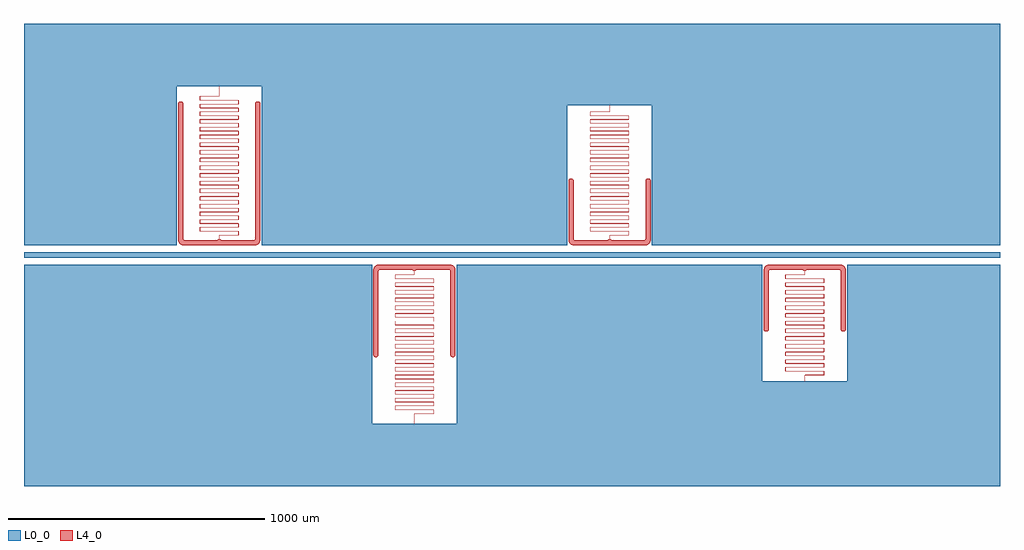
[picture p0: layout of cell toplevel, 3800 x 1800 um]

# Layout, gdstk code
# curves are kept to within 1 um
import gdstk
lib = gdstk.Library(unit=1e-6, precision=1e-09)
def R(c, l, rs):  # rectangles x0, y0, x1, y1
    for r in rs: c.add(gdstk.rectangle(r[:2], r[2:], *l))
def P(c, l, *ps):  # polygons
    for p in ps: c.add(gdstk.Polygon(p, *l))
L0_0 = (0, 0)
L4_0 = (4, 0)

toplevel = lib.new_cell('toplevel')
R(toplevel, L0_0, [(-1900,-10,1900,10)])
P(toplevel, L0_0, [(215,582.5),(545,582.5),(545,37.5),(1900,37.5),(1900,900),(-1900,900),(-1900,37.5),(-1305,37.5),(-1305,657.5),(-975,657.5),(-975,37.5),(215,37.5)],
  [(975,-492.5),(975,-37.5),(-215,-37.5),(-215,-657.5),(-545,-657.5),(-545,-37.5),(-1900,-37.5),(-1900,-900),(1900,-900),(1900,-37.5),(1305,-37.5),(1305,-492.5)])
P(toplevel, L4_0, [(-1008.256,37.5),(-997.418,38.546),(-989.063,42.458),(-983.214,49.297),(-980.348,58.625),(-980,258.168),(-1000,258.168),(-1000.038,63.083),(-1001.082,58.445),(-1007.931,57.5),(-1130,57.5),(-1139.7,62.5),(-1139.291,77.175),(-1065.361,77.305),(-1064.704,78.388),(-1064.702,91.589),(-1065.693,92.78),(-1214.666,93.171),(-1214.214,107.187),(-1066.111,107.2),(-1064.7,108.606),(-1064.709,121.702),(-1065.724,122.784),(-1214.544,122.941),(-1214.163,137.192),(-1066.111,137.2),(-1064.7,138.601),(-1064.706,151.654),(-1065.755,152.787),(-1214.468,152.887),(-1214.184,167.19),(-1066.111,167.2),(-1064.7,168.601),(-1064.704,181.624),(-1065.73,182.785),(-1214.306,182.829),(-1214.405,197.142),(-1065.73,197.215),(-1064.706,198.34),(-1064.7,211.404),(-1066.111,212.8),(-1214.202,212.812),(-1214.507,227.089),(-1065.755,227.213),(-1064.706,228.334),(-1064.7,241.404),(-1066.111,242.8),(-1214.197,242.811),(-1214.572,257.03),(-1066.036,257.2),(-1064.724,258.168),(-1213.888,257.8),(-1215.3,256.404),(-1215.293,243.328),(-1214.245,242.213),(-1065.428,242.03),(-1065.803,227.811),(-1213.888,227.8),(-1215.3,226.404),(-1215.294,213.34),(-1214.251,212.213),(-1065.458,212.061),(-1065.798,197.812),(-1214.003,197.799),(-1215.3,196.378),(-1215.292,183.31),(-1214.238,182.212),(-1065.511,182.101),(-1065.82,167.809),(-1213.942,167.8),(-1215.3,166.503),(-1215.295,153.352),(-1214.245,152.213),(-1065.69,152.171),(-1065.579,137.864),(-1214.22,137.79),(-1215.293,136.678),(-1215.3,123.606),(-1213.888,122.2),(-1065.761,122.184),(-1065.491,107.912),(-1214.238,107.788),(-1215.294,106.653),(-1215.3,93.612),(-1213.888,92.2),(-1065.811,92.19),(-1065.45,77.946),(-1139.481,77.746),(-1140.296,76.612),(-1140.3,62.5),(-1150,57.5),(-1272.878,57.504),(-1278.872,58.413),(-1279.998,64.94),(-1280,258.168),(-1300,258.168),(-1299.942,62.192),(-1299.229,56.102),(-1297.537,50.823),(-1294.735,46.164),(-1291.07,42.559),(-1283.52,38.804),(-1273.646,37.512)],
  [(-1064.717,258.218),(-1064.707,271.678),(-1064.797,272.119),(-1065.007,272.459),(-1065.328,272.681),(-1065.755,272.787),(-1213.935,272.8),(-1214.474,272.89),(-1214.677,273.221),(-1214.698,286.567),(-1214.572,287.03),(-1214.184,287.19),(-1066.036,287.2),(-1065.532,287.25),(-1065.155,287.415),(-1064.887,287.699),(-1064.736,288.097),(-1064.707,301.678),(-1064.797,302.119),(-1065.007,302.459),(-1065.328,302.681),(-1065.755,302.787),(-1213.935,302.8),(-1214.471,302.888),(-1214.675,303.209),(-1214.698,316.567),(-1214.572,317.03),(-1214.184,317.19),(-1066.036,317.2),(-1065.539,317.249),(-1065.161,317.411),(-1064.894,317.686),(-1064.74,318.078),(-1064.707,331.678),(-1064.797,332.119),(-1065.007,332.459),(-1065.328,332.681),(-1065.755,332.787),(-1213.935,332.8),(-1214.465,332.885),(-1214.671,333.194),(-1214.698,346.567),(-1214.572,347.03),(-1214.18,347.191),(-1066.041,347.2),(-1065.545,347.247),(-1065.173,347.403),(-1064.903,347.673),(-1064.745,348.052),(-1064.707,361.677),(-1064.797,362.119),(-1065.007,362.459),(-1065.328,362.681),(-1065.755,362.787),(-1213.93,362.8),(-1214.457,362.881),(-1214.668,363.179),(-1214.698,376.567),(-1214.572,377.03),(-1214.18,377.191),(-1066.041,377.2),(-1065.558,377.244),(-1065.186,377.394),(-1064.915,377.655),(-1064.754,378.019),(-1064.707,391.677),(-1064.797,392.119),(-1065.007,392.459),(-1065.328,392.681),(-1065.755,392.787),(-1213.93,392.8),(-1214.451,392.878),(-1214.663,393.16),(-1214.698,406.563),(-1214.572,407.03),(-1214.18,407.191),(-1066.041,407.2),(-1065.565,407.243),(-1065.199,407.387),(-1064.928,407.636),(-1064.762,407.987),(-1064.707,421.671),(-1064.795,422.112),(-1065.002,422.453),(-1065.328,422.681),(-1065.755,422.787),(-1213.93,422.8),(-1214.439,422.872),(-1214.657,423.139),(-1214.698,436.563),(-1214.572,437.03),(-1214.18,437.191),(-1066.047,437.2),(-1065.218,437.375),(-1064.947,437.612),(-1064.774,437.947),(-1064.7,438.547),(-1064.707,451.671),(-1064.795,452.112),(-1065.002,452.453),(-1065.328,452.681),(-1065.755,452.787),(-1213.925,452.8),(-1214.427,452.867),(-1214.649,453.115),(-1214.698,466.563),(-1214.572,467.03),(-1214.18,467.191),(-1066.047,467.2),(-1065.237,467.364),(-1064.971,467.582),(-1064.792,467.894),(-1064.7,468.536),(-1064.706,481.665),(-1064.795,482.112),(-1065.002,482.453),(-1065.328,482.681),(-1065.755,482.787),(-1213.925,482.8),(-1214.414,482.861),(-1214.64,483.089),(-1214.698,496.558),(-1214.574,497.027),(-1214.18,497.191),(-1066.052,497.2),(-1065.27,497.347),(-1064.816,497.835),(-1064.7,498.525),(-1064.706,511.665),(-1064.795,512.112),(-1065.002,512.453),(-1065.328,512.681),(-1065.755,512.787),(-1213.925,512.8),(-1214.398,512.855),(-1214.626,513.058),(-1214.7,513.545),(-1214.698,526.558),(-1214.574,527.028),(-1214.18,527.191),(-1066.052,527.2),(-1065.302,527.331),(-1064.85,527.763),(-1064.7,528.508),(-1064.706,541.659),(-1064.795,542.112),(-1065.002,542.453),(-1065.328,542.681),(-1065.755,542.787),(-1213.92,542.8),(-1214.375,542.847),(-1214.609,543.024),(-1214.7,543.54),(-1214.698,556.553),(-1214.574,557.028),(-1214.18,557.191),(-1066.063,557.2),(-1065.355,557.308),(-1064.903,557.673),(-1064.75,558.032),(-1064.701,558.491),(-1064.705,571.648),(-1064.79,572.099),(-1064.997,572.448),(-1065.322,572.678),(-1065.755,572.787),(-1213.914,572.8),(-1214.347,572.839),(-1214.582,572.984),(-1214.7,573.525),(-1214.698,586.548),(-1214.575,587.025),(-1214.18,587.191),(-1066.069,587.2),(-1065.427,587.281),(-1064.986,587.564),(-1064.774,587.947),(-1064.701,588.463),(-1064.704,601.63),(-1064.787,602.092),(-1064.992,602.442),(-1065.315,602.675),(-1065.749,602.787),(-1213.909,602.8),(-1214.544,602.941),(-1214.7,603.51),(-1214.699,616.515),(-1214.601,616.989),(-1214.287,617.175),(-1141.058,617.2),(-1140.526,617.252),(-1140.136,617.428),(-1139.805,617.861),(-1139.7,618.508),(-1139.7,657.5),(-1140.3,657.5),(-1140.3,618.55),(-1140.342,618.143),(-1140.486,617.916),(-1141.075,617.8),(-1214.416,617.761),(-1214.788,617.621),(-1215.062,617.376),(-1215.232,617.033),(-1215.297,616.589),(-1215.298,603.446),(-1215.208,602.894),(-1214.953,602.502),(-1214.527,602.266),(-1213.926,602.2),(-1065.82,602.191),(-1065.425,602.025),(-1065.301,601.544),(-1065.3,588.52),(-1065.435,587.962),(-1065.671,587.834),(-1066.086,587.8),(-1214.251,587.787),(-1214.678,587.678),(-1215.003,587.448),(-1215.21,587.099),(-1215.295,586.642),(-1215.299,573.48),(-1215.24,572.993),(-1215.062,572.624),(-1214.612,572.295),(-1213.937,572.2),(-1065.82,572.191),(-1065.426,572.028),(-1065.302,571.553),(-1065.3,558.53),(-1065.404,558.003),(-1065.639,557.843),(-1066.08,557.8),(-1214.245,557.787),(-1214.671,557.681),(-1214.998,557.453),(-1215.208,557.106),(-1215.294,556.654),(-1215.3,543.503),(-1215.129,542.724),(-1214.671,542.319),(-1213.942,542.2),(-1065.82,542.191),(-1065.426,542.028),(-1065.302,541.558),(-1065.3,528.54),(-1065.382,528.04),(-1065.615,527.85),(-1066.08,527.8),(-1214.245,527.787),(-1214.671,527.681),(-1214.998,527.453),(-1215.205,527.112),(-1215.294,526.659),(-1215.3,513.519),(-1215.169,512.802),(-1214.717,512.34),(-1213.948,512.2),(-1065.82,512.191),(-1065.426,512.028),(-1065.302,511.558),(-1065.3,498.55),(-1065.367,498.073),(-1065.595,497.858),(-1066.075,497.8),(-1214.245,497.787),(-1214.671,497.681),(-1214.998,497.453),(-1215.205,497.112),(-1215.294,496.665),(-1215.3,483.53),(-1215.198,482.868),(-1215.019,482.57),(-1214.75,482.357),(-1213.953,482.2),(-1065.82,482.191),(-1065.428,482.03),(-1065.302,481.563),(-1065.355,468.102),(-1065.579,467.864),(-1066.075,467.8),(-1214.245,467.787),(-1214.671,467.681),(-1214.998,467.453),(-1215.205,467.112),(-1215.293,466.671),(-1215.3,453.541),(-1215.217,452.921),(-1215.039,452.593),(-1214.769,452.368),(-1213.953,452.2),(-1065.82,452.191),(-1065.428,452.03),(-1065.302,451.563),(-1065.346,438.129),(-1065.564,437.871),(-1066.07,437.8),(-1214.245,437.787),(-1214.671,437.681),(-1214.998,437.453),(-1215.205,437.112),(-1215.293,436.671),(-1215.3,423.547),(-1215.232,422.967),(-1215.062,422.624),(-1214.795,422.383),(-1213.959,422.2),(-1065.82,422.191),(-1065.428,422.03),(-1065.302,421.563),(-1065.34,408.15),(-1065.555,407.875),(-1066.07,407.8),(-1214.245,407.787),(-1214.671,407.681),(-1214.998,407.453),(-1215.205,407.112),(-1215.293,406.671),(-1215.243,393.006),(-1215.08,392.648),(-1214.808,392.39),(-1214.441,392.244),(-1213.959,392.2),(-1065.82,392.191),(-1065.428,392.03),(-1065.302,391.567),(-1065.335,378.168),(-1065.546,377.879),(-1066.07,377.8),(-1214.245,377.787),(-1214.671,377.681),(-1214.992,377.459),(-1215.203,377.119),(-1215.293,376.677),(-1215.251,363.039),(-1215.093,362.667),(-1214.82,362.398),(-1214.448,362.245),(-1213.959,362.2),(-1065.82,362.191),(-1065.428,362.03),(-1065.302,361.567),(-1065.33,348.186),(-1065.54,347.882),(-1066.07,347.8),(-1214.245,347.787),(-1214.671,347.681),(-1214.992,347.459),(-1215.203,347.119),(-1215.293,346.677),(-1215.257,333.065),(-1215.101,332.68),(-1214.833,332.407),(-1214.454,332.247),(-1213.959,332.2),(-1065.82,332.191),(-1065.428,332.03),(-1065.302,331.567),(-1065.327,318.202),(-1065.532,317.887),(-1066.065,317.8),(-1214.245,317.787),(-1214.671,317.681),(-1214.992,317.459),(-1215.203,317.119),(-1215.293,316.678),(-1215.263,303.091),(-1215.113,302.699),(-1214.845,302.415),(-1214.468,302.25),(-1213.964,302.2),(-1065.815,302.19),(-1065.428,302.03),(-1065.302,301.567),(-1065.325,288.213),(-1065.529,287.888),(-1066.065,287.8),(-1214.245,287.787),(-1214.671,287.681),(-1214.992,287.459),(-1215.203,287.119),(-1215.293,286.678),(-1215.267,273.11),(-1215.117,272.705),(-1214.852,272.42),(-1214.468,272.25),(-1213.964,272.2),(-1065.815,272.19),(-1065.428,272.03),(-1065.302,271.567),(-1065.335,258.168)],
  [(-1280,587.5),(-1282.929,594.571),(-1290,597.5),(-1296.756,594.873),(-1299.99,587.936),(-1300,258.168),(-1280,258.168)],
  [(-980,587.5),(-982.929,594.571),(-990,597.5),(-996.756,594.873),(-999.99,587.936),(-1000,258.168),(-980,258.168)],
  [(-529.564,-397.49),(-523.244,-394.873),(-520.038,-388.372),(-520,-258.112),(-540,-258.112),(-539.962,-388.372),(-536.756,-394.873)],
  [(-379.7,-618.55),(-379.561,-617.958),(-379.044,-617.801),(-305.532,-617.75),(-305.211,-617.621),(-304.937,-617.376),(-304.768,-617.033),(-304.702,-616.589),(-304.705,-603.364),(-304.898,-602.68),(-305.348,-602.31),(-306.074,-602.2),(-454.18,-602.191),(-454.575,-602.025),(-454.699,-601.544),(-454.7,-588.52),(-454.648,-588.112),(-454.494,-587.902),(-453.914,-587.8),(-305.749,-587.787),(-305.322,-587.678),(-304.997,-587.448),(-304.79,-587.099),(-304.705,-586.642),(-304.701,-573.48),(-304.792,-572.894),(-305.082,-572.471),(-305.532,-572.25),(-306.063,-572.2),(-454.18,-572.191),(-454.574,-572.028),(-454.698,-571.553),(-454.7,-558.53),(-454.554,-557.95),(-454.321,-557.832),(-453.92,-557.8),(-305.755,-557.787),(-305.328,-557.681),(-305.002,-557.453),(-304.792,-557.106),(-304.706,-556.654),(-304.7,-543.503),(-304.766,-542.973),(-304.961,-542.593),(-305.401,-542.29),(-306.058,-542.2),(-454.18,-542.191),(-454.574,-542.028),(-454.698,-541.558),(-454.7,-528.54),(-454.599,-528.008),(-454.385,-527.85),(-453.92,-527.8),(-305.755,-527.787),(-305.328,-527.681),(-305.002,-527.453),(-304.795,-527.112),(-304.706,-526.659),(-304.7,-513.519),(-304.871,-512.724),(-305.361,-512.305),(-306.052,-512.2),(-454.18,-512.191),(-454.574,-512.028),(-454.698,-511.558),(-454.7,-498.55),(-454.615,-498.035),(-454.361,-497.843),(-453.925,-497.8),(-305.755,-497.787),(-305.328,-497.681),(-305.002,-497.453),(-304.795,-497.112),(-304.706,-496.665),(-304.7,-483.53),(-304.837,-482.789),(-305.041,-482.507),(-305.328,-482.319),(-306.047,-482.2),(-454.18,-482.191),(-454.572,-482.03),(-454.698,-481.563),(-454.7,-468.555),(-454.626,-468.058),(-454.378,-467.848),(-453.925,-467.8),(-305.755,-467.787),(-305.328,-467.681),(-305.002,-467.453),(-304.795,-467.112),(-304.707,-466.671),(-304.7,-453.541),(-304.819,-452.828),(-305.018,-452.529),(-305.309,-452.328),(-306.047,-452.2),(-454.18,-452.191),(-454.572,-452.03),(-454.698,-451.563),(-454.7,-438.56),(-454.637,-438.082),(-454.392,-437.853),(-453.93,-437.8),(-305.755,-437.787),(-305.328,-437.681),(-305.002,-437.453),(-304.795,-437.112),(-304.707,-436.671),(-304.7,-423.547),(-304.8,-422.875),(-304.966,-422.587),(-305.244,-422.36),(-306.041,-422.2),(-454.18,-422.191),(-454.572,-422.03),(-454.698,-421.563),(-454.645,-408.102),(-454.398,-407.855),(-453.93,-407.8),(-305.755,-407.787),(-305.328,-407.681),(-305.002,-407.453),(-304.795,-407.112),(-304.707,-406.671),(-304.7,-393.558),(-304.772,-392.954),(-304.92,-392.648),(-305.192,-392.39),(-305.558,-392.244),(-306.041,-392.2),(-454.18,-392.191),(-454.572,-392.03),(-454.698,-391.567),(-454.665,-378.168),(-454.454,-377.879),(-453.93,-377.8),(-305.755,-377.787),(-305.328,-377.681),(-305.007,-377.459),(-304.797,-377.119),(-304.707,-376.677),(-304.7,-363.563),(-304.776,-362.94),(-304.937,-362.624),(-305.218,-362.375),(-306.041,-362.2),(-454.18,-362.191),(-454.572,-362.03),(-454.698,-361.567),(-454.67,-348.186),(-454.46,-347.882),(-453.93,-347.8),(-305.755,-347.787),(-305.328,-347.681),(-305.007,-347.459),(-304.797,-347.119),(-304.707,-346.677),(-304.755,-333.013),(-304.898,-332.68),(-305.167,-332.407),(-305.545,-332.247),(-306.041,-332.2),(-454.18,-332.191),(-454.572,-332.03),(-454.698,-331.567),(-454.673,-318.202),(-454.468,-317.887),(-453.935,-317.8),(-305.755,-317.787),(-305.328,-317.681),(-305.007,-317.459),(-304.797,-317.119),(-304.707,-316.678),(-304.75,-303.032),(-304.915,-302.655),(-305.192,-302.39),(-305.584,-302.238),(-306.036,-302.2),(-454.184,-302.19),(-454.572,-302.03),(-454.698,-301.567),(-454.675,-288.213),(-454.471,-287.888),(-453.935,-287.8),(-305.755,-287.787),(-305.328,-287.681),(-305.007,-287.459),(-304.797,-287.119),(-304.707,-286.678),(-304.745,-273.052),(-304.911,-272.661),(-305.192,-272.39),(-305.584,-272.238),(-306.036,-272.2),(-454.184,-272.19),(-454.572,-272.03),(-454.698,-271.567),(-454.648,-258.112),(-455.267,-258.112),(-455.293,-271.678),(-455.203,-272.119),(-454.992,-272.459),(-454.671,-272.681),(-454.245,-272.787),(-306.065,-272.8),(-305.526,-272.89),(-305.323,-273.221),(-305.302,-286.567),(-305.428,-287.03),(-305.815,-287.19),(-453.964,-287.2),(-454.468,-287.25),(-454.845,-287.415),(-455.113,-287.699),(-455.264,-288.097),(-455.293,-301.678),(-455.203,-302.119),(-454.992,-302.459),(-454.671,-302.681),(-454.245,-302.787),(-306.065,-302.8),(-305.529,-302.888),(-305.325,-303.209),(-305.302,-316.567),(-305.428,-317.03),(-305.815,-317.19),(-453.964,-317.2),(-454.461,-317.249),(-454.839,-317.411),(-455.105,-317.686),(-455.26,-318.078),(-455.293,-331.678),(-455.203,-332.119),(-454.992,-332.459),(-454.671,-332.681),(-454.245,-332.787),(-306.065,-332.8),(-305.535,-332.885),(-305.329,-333.194),(-305.302,-346.567),(-305.428,-347.03),(-305.82,-347.191),(-453.959,-347.2),(-454.454,-347.247),(-454.827,-347.403),(-455.097,-347.673),(-455.241,-348),(-455.293,-361.677),(-455.203,-362.119),(-454.992,-362.459),(-454.671,-362.681),(-454.245,-362.787),(-306.07,-362.8),(-305.589,-362.86),(-305.347,-363.125),(-305.302,-376.567),(-305.428,-377.03),(-305.82,-377.191),(-453.959,-377.2),(-454.776,-377.371),(-455.058,-377.618),(-455.232,-377.967),(-455.3,-378.558),(-455.293,-391.677),(-455.203,-392.119),(-454.992,-392.459),(-454.671,-392.681),(-454.245,-392.787),(-306.07,-392.8),(-305.595,-392.858),(-305.353,-393.108),(-305.302,-406.563),(-305.428,-407.03),(-305.82,-407.191),(-453.959,-407.2),(-454.763,-407.364),(-455.044,-407.599),(-455.208,-407.894),(-455.3,-408.552),(-455.293,-421.671),(-455.205,-422.112),(-454.998,-422.453),(-454.671,-422.681),(-454.245,-422.787),(-306.07,-422.8),(-305.561,-422.872),(-305.359,-423.092),(-305.302,-436.563),(-305.428,-437.03),(-305.82,-437.191),(-453.953,-437.2),(-454.743,-437.353),(-455.024,-437.576),(-455.21,-437.901),(-455.3,-438.547),(-455.293,-451.671),(-455.205,-452.112),(-454.998,-452.453),(-454.671,-452.681),(-454.245,-452.787),(-306.075,-452.8),(-305.618,-452.849),(-305.368,-453.07),(-305.3,-453.56),(-305.302,-466.563),(-305.428,-467.03),(-305.82,-467.191),(-453.953,-467.2),(-454.685,-467.325),(-454.97,-467.518),(-455.172,-467.809),(-455.3,-468.536),(-455.294,-481.665),(-455.205,-482.112),(-454.998,-482.453),(-454.671,-482.681),(-454.245,-482.787),(-306.075,-482.8),(-305.586,-482.861),(-305.378,-483.049),(-305.3,-483.555),(-305.302,-496.558),(-305.426,-497.027),(-305.82,-497.191),(-453.948,-497.2),(-454.652,-497.31),(-454.942,-497.491),(-455.146,-497.757),(-455.3,-498.525),(-455.294,-511.665),(-455.205,-512.112),(-454.998,-512.453),(-454.671,-512.681),(-454.245,-512.787),(-306.075,-512.8),(-305.602,-512.855),(-305.393,-513.021),(-305.3,-513.545),(-305.302,-526.558),(-305.426,-527.028),(-305.82,-527.191),(-453.948,-527.2),(-454.619,-527.297),(-455.11,-527.692),(-455.3,-528.508),(-455.294,-541.659),(-455.205,-542.112),(-454.998,-542.453),(-454.671,-542.681),(-454.245,-542.787),(-306.08,-542.8),(-305.668,-542.835),(-305.433,-542.964),(-305.3,-543.54),(-305.302,-556.553),(-305.426,-557.028),(-305.82,-557.191),(-453.937,-557.2),(-454.494,-557.257),(-454.959,-557.508),(-455.222,-557.934),(-455.299,-558.491),(-455.295,-571.648),(-455.21,-572.099),(-455.003,-572.448),(-454.678,-572.678),(-454.245,-572.787),(-306.086,-572.8),(-305.46,-572.937),(-305.3,-573.525),(-305.302,-586.548),(-305.425,-587.025),(-305.82,-587.191),(-453.931,-587.2),(-454.435,-587.243),(-454.82,-587.398),(-455.184,-587.835),(-455.299,-588.463),(-455.296,-601.63),(-455.213,-602.092),(-455.008,-602.442),(-454.685,-602.675),(-454.251,-602.787),(-305.589,-602.86),(-305.372,-603.061),(-305.3,-603.51),(-305.301,-616.515),(-305.399,-616.989),(-305.713,-617.175),(-378.942,-617.2),(-379.474,-617.252),(-379.864,-617.428),(-380.195,-617.861),(-380.3,-618.508),(-380.3,-657.5),(-379.7,-657.5)],
  [(-229.564,-397.49),(-223.244,-394.873),(-220.038,-388.372),(-220,-258.112),(-240,-258.112),(-239.962,-388.372),(-236.756,-394.873)],
  [(-220,-65.846),(-221.152,-54.518),(-225.477,-45.9),(-232.768,-40.22),(-242.906,-37.664),(-513.348,-37.508),(-521.92,-38.386),(-529.032,-41.184),(-533.502,-44.739),(-536.86,-49.435),(-538.954,-54.918),(-539.917,-61.647),(-540,-258.112),(-520,-258.112),(-519.962,-63.083),(-518.918,-58.445),(-512.069,-57.5),(-390,-57.5),(-380.3,-62.5),(-380.709,-77.175),(-454.639,-77.305),(-455.296,-78.388),(-455.297,-91.589),(-454.307,-92.78),(-305.334,-93.171),(-305.786,-107.187),(-453.888,-107.2),(-455.3,-108.606),(-455.291,-121.702),(-454.276,-122.784),(-305.456,-122.941),(-305.837,-137.192),(-453.888,-137.2),(-455.3,-138.601),(-455.294,-151.654),(-454.245,-152.787),(-305.532,-152.887),(-305.815,-167.19),(-453.888,-167.2),(-455.3,-168.601),(-455.296,-181.624),(-454.269,-182.785),(-305.694,-182.829),(-305.595,-197.142),(-454.269,-197.215),(-455.294,-198.34),(-455.3,-211.404),(-453.888,-212.8),(-305.798,-212.812),(-305.493,-227.089),(-454.245,-227.213),(-455.294,-228.334),(-455.3,-241.404),(-453.888,-242.8),(-305.803,-242.811),(-305.428,-257.03),(-453.964,-257.2),(-455.267,-258.112),(-306.111,-257.8),(-304.7,-256.404),(-304.707,-243.328),(-305.755,-242.213),(-454.572,-242.03),(-454.197,-227.811),(-306.111,-227.8),(-304.7,-226.404),(-304.706,-213.34),(-305.749,-212.213),(-454.542,-212.061),(-454.202,-197.812),(-305.997,-197.799),(-304.7,-196.378),(-304.708,-183.31),(-305.762,-182.212),(-454.489,-182.101),(-454.18,-167.809),(-306.058,-167.8),(-304.7,-166.503),(-304.705,-153.352),(-305.755,-152.213),(-454.31,-152.171),(-454.421,-137.864),(-305.78,-137.79),(-304.707,-136.678),(-304.7,-123.606),(-306.111,-122.2),(-454.239,-122.184),(-454.509,-107.912),(-305.762,-107.788),(-304.706,-106.653),(-304.7,-93.612),(-306.111,-92.2),(-454.189,-92.19),(-454.55,-77.946),(-380.519,-77.746),(-379.704,-76.612),(-379.7,-62.5),(-370,-57.5),(-247.122,-57.504),(-241.128,-58.413),(-240.001,-65.102),(-240,-258.112),(-220,-258.112)],
  [(511.744,37.5),(522.581,38.546),(530.803,42.359),(536.634,49.02),(539.568,58.01),(540,228.612),(520,228.612),(519.944,62.684),(518.872,58.413),(512.069,57.5),(390,57.5),(380.3,62.5),(380.709,77.175),(454.639,77.305),(455.296,78.388),(455.297,91.589),(454.307,92.78),(305.35,93.115),(305.786,107.187),(453.888,107.2),(455.3,108.606),(455.291,121.702),(454.276,122.784),(305.491,122.912),(305.837,137.192),(453.888,137.2),(455.3,138.601),(455.294,151.654),(454.245,152.787),(305.579,152.864),(305.717,167.176),(454.245,167.213),(455.294,168.346),(455.3,181.497),(453.942,182.8),(305.82,182.809),(305.498,197.093),(454.245,197.213),(455.294,198.34),(455.3,211.481),(453.948,212.8),(305.82,212.809),(305.45,227.054),(454.089,227.202),(455.3,228.612),(453.888,227.8),(306.052,227.8),(304.7,226.475),(304.706,213.334),(305.755,212.213),(454.542,212.061),(454.18,197.809),(306.052,197.8),(304.7,196.486),(304.706,183.34),(305.755,182.213),(454.521,182.079),(454.18,167.809),(306.058,167.8),(304.7,166.503),(304.705,153.352),(305.755,152.213),(454.46,152.118),(454.18,137.809),(306.069,137.8),(304.701,136.531),(304.705,123.364),(305.749,122.213),(454.239,122.184),(454.421,107.864),(305.762,107.788),(304.706,106.653),(304.7,93.612),(306.111,92.2),(454.189,92.19),(454.519,77.919),(380.519,77.746),(379.704,76.612),(379.7,62.5),(370,57.5),(247.122,57.504),(241.211,58.362),(240.004,64.622),(240,228.612),(220,228.612),(220.089,61.536),(220.98,55.184),(222.925,49.852),(226.03,45.249),(230.145,41.699),(237.418,38.546),(246.354,37.512)],
  [(455.3,241.47),(455.224,242.06),(454.987,242.465),(454.586,242.715),(453.953,242.8),(306.112,242.8),(305.632,242.845),(305.376,243.052),(305.3,243.612),(305.303,256.591),(305.414,257.012),(305.777,257.186),(453.888,257.2),(454.527,257.266),(454.965,257.513),(455.222,257.934),(455.3,258.596),(455.289,271.726),(455.203,272.119),(454.987,272.465),(454.606,272.708),(454.208,272.791),(306.112,272.8),(305.632,272.845),(305.401,273.008),(305.3,273.612),(305.302,286.577),(305.43,287.032),(305.833,287.192),(453.888,287.2),(454.527,287.266),(454.965,287.513),(455.222,287.934),(455.3,288.596),(455.291,301.702),(455.203,302.119),(454.976,302.476),(454.625,302.7),(454.22,302.789),(306.112,302.8),(305.69,302.829),(305.428,302.97),(305.3,303.612),(305.302,316.572),(305.421,317.021),(305.824,317.191),(453.888,317.2),(454.527,317.266),(454.965,317.513),(455.222,317.934),(455.3,318.596),(455.287,331.751),(455.175,332.185),(454.959,332.492),(454.639,332.695),(454.226,332.789),(306.112,332.8),(305.493,332.911),(305.355,333.102),(305.302,333.433),(305.302,346.563),(305.414,347.012),(305.82,347.191),(453.888,347.2),(454.527,347.266),(454.959,347.507),(455.236,347.98),(455.3,348.596),(455.289,361.726),(455.187,362.158),(454.97,362.482),(454.645,362.692),(454.226,362.789),(306.112,362.8),(305.582,362.863),(305.376,363.052),(305.302,363.433),(305.3,376.425),(305.384,376.962),(305.69,377.171),(454.245,377.213),(454.671,377.319),(454.992,377.541),(455.203,377.881),(455.293,378.322),(455.3,391.431),(455.23,392.04),(454.982,392.47),(454.559,392.724),(453.959,392.8),(305.82,392.809),(305.428,392.97),(305.302,393.433),(305.302,406.548),(305.358,406.905),(305.532,407.113),(306.065,407.2),(454.245,407.213),(454.671,407.319),(454.992,407.541),(455.203,407.881),(455.293,408.322),(455.3,421.426),(455.236,422.02),(454.992,422.459),(454.573,422.719),(453.964,422.8),(305.82,422.809),(305.43,422.968),(305.302,423.423),(305.301,436.524),(305.456,437.059),(306.025,437.2),(454.276,437.216),(454.698,437.331),(454.965,437.513),(455.19,437.848),(455.29,438.286),(455.3,451.399),(455.222,452.066),(454.965,452.487),(454.527,452.734),(453.888,452.8),(305.807,452.811),(305.423,452.977),(305.302,453.447),(305.3,466.388),(305.426,467.027),(305.69,467.171),(306.112,467.2),(454.263,467.215),(454.671,467.319),(454.987,467.535),(455.205,467.888),(455.288,468.261),(455.3,481.399),(455.224,482.059),(454.965,482.487),(454.527,482.734),(453.888,482.8),(305.82,482.809),(305.425,482.975),(305.302,483.433),(305.3,496.388),(305.398,496.987),(305.632,497.155),(306.112,497.2),(454.232,497.212),(454.678,497.322),(455.019,497.57),(455.208,497.894),(455.294,498.34),(455.3,511.399),(455.226,512.053),(454.97,512.482),(454.533,512.732),(453.888,512.8),(305.842,512.807),(305.435,512.962),(305.303,513.414),(305.3,526.388),(305.372,526.939),(305.632,527.155),(306.112,527.2),(454.263,527.215),(454.652,527.31),(454.992,527.541),(455.187,527.842),(455.291,528.292),(455.3,541.394),(455.232,542.033),(454.976,542.476),(454.533,542.732),(453.888,542.8),(306.091,542.8),(305.535,542.885),(305.358,543.095),(305.301,543.5),(305.301,556.505),(305.398,556.987),(305.713,557.175),(378.931,557.2),(379.743,557.354),(380.157,557.776),(380.299,558.457),(380.3,582.5),(379.7,582.5),(379.7,558.52),(379.612,558.029),(379.368,557.845),(306.096,557.8),(305.289,557.663),(304.857,557.25),(304.702,556.571),(304.702,543.429),(304.768,542.967),(304.991,542.558),(305.322,542.322),(305.78,542.21),(453.888,542.2),(454.31,542.171),(454.544,542.059),(454.665,541.832),(454.7,541.388),(454.696,528.4),(454.563,527.96),(454.141,527.806),(305.572,527.759),(305.224,527.629),(304.928,527.364),(304.755,526.987),(304.701,526.525),(304.704,513.382),(304.89,512.692),(305.361,512.305),(306.069,512.2),(454.18,512.191),(454.544,512.059),(454.695,511.632),(454.7,498.525),(454.54,497.937),(453.914,497.8),(305.755,497.787),(305.276,497.657),(304.966,497.412),(304.774,497.053),(304.701,496.537),(304.705,483.358),(304.853,482.757),(305.218,482.375),(306.063,482.2),(454.18,482.191),(454.574,482.027),(454.698,481.553),(454.7,468.54),(454.666,468.171),(454.542,467.939),(453.92,467.8),(305.755,467.787),(305.328,467.681),(305.002,467.453),(304.795,467.112),(304.706,466.659),(304.7,453.508),(304.783,452.921),(305.099,452.456),(305.545,452.247),(306.052,452.2),(454.18,452.191),(454.574,452.027),(454.698,451.558),(454.7,438.545),(454.67,438.186),(454.53,437.928),(453.92,437.8),(305.755,437.787),(305.296,437.666),(304.997,437.448),(304.781,437.073),(304.702,436.583),(304.702,423.435),(304.785,422.914),(305.013,422.535),(305.434,422.278),(306.111,422.2),(454.193,422.189),(454.574,422.027),(454.699,421.544),(454.7,408.606),(454.662,408.157),(454.542,407.939),(453.888,407.8),(305.762,407.788),(305.289,407.663),(304.981,407.43),(304.785,407.086),(304.702,406.583),(304.702,393.44),(304.764,392.98),(304.976,392.576),(305.427,392.281),(306.111,392.2),(454.189,392.19),(454.568,392.034),(454.698,391.548),(454.7,378.606),(454.662,378.157),(454.542,377.939),(453.888,377.8),(305.768,377.788),(305.348,377.69),(305.024,377.476),(304.81,377.152),(304.71,376.72),(304.702,363.44),(304.764,362.98),(304.915,362.655),(305.375,362.3),(306.111,362.2),(454.184,362.19),(454.561,362.042),(454.698,361.558),(454.7,348.606),(454.662,348.157),(454.542,347.939),(453.888,347.8),(305.774,347.789),(305.315,347.675),(305.002,347.453),(304.781,347.073),(304.703,346.606),(304.702,333.44),(304.887,332.699),(305.328,332.319),(306.111,332.2),(454.18,332.191),(454.582,332.016),(454.698,331.563),(454.7,318.612),(454.662,318.157),(454.542,317.939),(453.888,317.8),(305.78,317.789),(305.368,317.698),(305.018,317.47),(304.81,317.152),(304.708,316.69),(304.7,303.596),(304.857,302.75),(305.328,302.319),(306.111,302.2),(454.171,302.192),(454.575,302.025),(454.698,301.572),(454.7,288.612),(454.662,288.157),(454.542,287.939),(453.888,287.8),(305.786,287.79),(305.381,287.703),(305.029,287.482),(304.805,287.139),(304.705,286.636),(304.7,273.596),(304.834,272.796),(305.283,272.34),(306.111,272.2),(454.167,272.192),(454.565,272.038),(454.697,271.586),(454.7,258.612),(454.662,258.157),(454.542,257.939),(453.888,257.8),(305.792,257.791),(305.315,257.675),(305.024,257.476),(304.787,257.092),(304.706,256.653),(304.701,243.452),(304.834,242.796),(305.283,242.34),(306.111,242.2),(454.158,242.193),(454.555,242.048),(454.697,241.595),(454.7,228.612),(455.3,228.612)],
  [(240,287.5),(237.66,293.928),(231.736,297.348),(225,296.16),(220.603,290.92),(220,228.612),(240,228.612)],
  [(540,287.5),(537.66,293.928),(531.736,297.348),(525,296.16),(520.603,290.92),(520,228.612),(540,228.612)],
  [(990.436,-297.49),(996.756,-294.873),(999.962,-288.372),(1000,-182.932),(980,-182.932),(980.038,-288.372),(983.244,-294.873)],
  [(1140.3,-468.52),(1140.45,-467.946),(1140.976,-467.801),(1214.468,-467.75),(1214.87,-467.567),(1215.121,-467.288),(1215.26,-466.922),(1215.3,-466.388),(1215.294,-453.34),(1215.085,-452.655),(1214.625,-452.3),(1213.92,-452.2),(1065.82,-452.191),(1065.425,-452.025),(1065.301,-451.539),(1065.3,-438.51),(1065.359,-438.092),(1065.503,-437.904),(1066.091,-437.8),(1214.251,-437.787),(1214.685,-437.675),(1215.008,-437.442),(1215.213,-437.092),(1215.296,-436.63),(1215.299,-423.463),(1215.184,-422.835),(1214.876,-422.437),(1214.507,-422.26),(1213.931,-422.2),(1065.82,-422.191),(1065.425,-422.025),(1065.302,-421.548),(1065.3,-408.525),(1065.437,-407.96),(1065.653,-407.839),(1066.086,-407.8),(1214.245,-407.787),(1214.678,-407.678),(1215.003,-407.448),(1215.21,-407.099),(1215.295,-406.647),(1215.299,-393.491),(1215.236,-392.98),(1215.053,-392.612),(1214.573,-392.281),(1213.937,-392.2),(1065.82,-392.191),(1065.426,-392.027),(1065.302,-391.553),(1065.3,-378.54),(1065.411,-377.993),(1065.625,-377.847),(1066.08,-377.8),(1214.245,-377.787),(1214.671,-377.681),(1214.998,-377.453),(1215.205,-377.112),(1215.294,-376.659),(1215.3,-363.508),(1215.11,-362.692),(1214.619,-362.297),(1213.948,-362.2),(1065.82,-362.191),(1065.426,-362.027),(1065.302,-361.558),(1065.3,-348.545),(1065.393,-348.021),(1065.602,-347.855),(1066.075,-347.8),(1214.245,-347.787),(1214.671,-347.681),(1214.998,-347.453),(1215.205,-347.112),(1215.294,-346.665),(1215.3,-333.525),(1215.146,-332.757),(1214.942,-332.491),(1214.652,-332.31),(1213.948,-332.2),(1065.82,-332.191),(1065.426,-332.027),(1065.302,-331.558),(1065.3,-318.555),(1065.378,-318.049),(1065.586,-317.861),(1066.075,-317.8),(1214.245,-317.787),(1214.671,-317.681),(1214.998,-317.453),(1215.205,-317.112),(1215.294,-316.666),(1215.3,-303.536),(1215.208,-302.894),(1215.029,-302.582),(1214.763,-302.364),(1213.953,-302.2),(1065.82,-302.191),(1065.428,-302.03),(1065.302,-301.563),(1065.35,-288.115),(1065.573,-287.867),(1066.075,-287.8),(1214.245,-287.787),(1214.671,-287.681),(1214.998,-287.453),(1215.205,-287.112),(1215.293,-286.671),(1215.3,-273.547),(1215.21,-272.901),(1215.024,-272.576),(1214.743,-272.353),(1213.953,-272.2),(1065.82,-272.191),(1065.428,-272.03),(1065.302,-271.563),(1065.343,-258.139),(1065.561,-257.872),(1066.07,-257.8),(1214.245,-257.787),(1214.671,-257.681),(1214.998,-257.453),(1215.205,-257.112),(1215.293,-256.671),(1215.238,-242.987),(1215.071,-242.636),(1214.801,-242.387),(1214.435,-242.243),(1213.959,-242.2),(1065.82,-242.191),(1065.428,-242.03),(1065.302,-241.563),(1065.337,-228.16),(1065.549,-227.878),(1066.07,-227.8),(1214.245,-227.787),(1214.671,-227.681),(1214.992,-227.459),(1215.203,-227.119),(1215.293,-226.677),(1215.3,-213.558),(1215.232,-212.967),(1215.058,-212.618),(1214.776,-212.371),(1213.959,-212.2),(1065.82,-212.191),(1065.428,-212.03),(1065.302,-211.567),(1065.332,-198.179),(1065.543,-197.881),(1066.07,-197.8),(1214.245,-197.787),(1214.671,-197.681),(1214.992,-197.459),(1215.203,-197.119),(1215.293,-196.678),(1215.3,-183.563),(1215.221,-182.932),(1214.534,-182.932),(1214.67,-183.186),(1214.7,-183.575),(1214.698,-196.567),(1214.572,-197.03),(1214.18,-197.191),(1066.041,-197.2),(1065.552,-197.245),(1065.18,-197.398),(1064.907,-197.667),(1064.749,-198.039),(1064.707,-211.677),(1064.797,-212.119),(1065.007,-212.459),(1065.328,-212.681),(1065.755,-212.787),(1213.93,-212.8),(1214.454,-212.879),(1214.665,-213.168),(1214.698,-226.567),(1214.572,-227.03),(1214.18,-227.191),(1066.041,-227.2),(1065.558,-227.244),(1065.192,-227.39),(1064.92,-227.648),(1064.772,-227.954),(1064.7,-228.558),(1064.707,-241.671),(1064.795,-242.112),(1065.002,-242.453),(1065.328,-242.681),(1065.755,-242.787),(1213.93,-242.8),(1214.398,-242.855),(1214.645,-243.102),(1214.698,-256.563),(1214.572,-257.03),(1214.18,-257.191),(1066.041,-257.2),(1065.205,-257.383),(1064.937,-257.624),(1064.768,-257.967),(1064.7,-258.547),(1064.707,-271.671),(1064.795,-272.112),(1065.002,-272.453),(1065.328,-272.681),(1065.755,-272.787),(1213.93,-272.8),(1214.436,-272.871),(1214.654,-273.129),(1214.698,-286.563),(1214.572,-287.03),(1214.18,-287.191),(1066.047,-287.2),(1065.231,-287.368),(1064.8,-287.875),(1064.7,-288.541),(1064.707,-301.671),(1064.795,-302.112),(1065.002,-302.453),(1065.328,-302.681),(1065.755,-302.787),(1213.925,-302.8),(1214.421,-302.864),(1214.645,-303.102),(1214.698,-316.563),(1214.572,-317.03),(1214.18,-317.191),(1066.047,-317.2),(1065.328,-317.319),(1065.041,-317.507),(1064.837,-317.789),(1064.7,-318.53),(1064.706,-331.666),(1064.795,-332.112),(1065.002,-332.453),(1065.328,-332.681),(1065.755,-332.787),(1213.925,-332.8),(1214.361,-332.843),(1214.615,-333.035),(1214.7,-333.55),(1214.698,-346.558),(1214.574,-347.027),(1214.18,-347.191),(1066.052,-347.2),(1065.361,-347.305),(1064.871,-347.724),(1064.7,-348.519),(1064.706,-361.659),(1064.795,-362.112),(1065.002,-362.453),(1065.328,-362.681),(1065.755,-362.787),(1213.92,-362.8),(1214.385,-362.85),(1214.599,-363.008),(1214.7,-363.54),(1214.698,-376.558),(1214.574,-377.027),(1214.18,-377.191),(1066.058,-377.2),(1065.328,-377.319),(1064.915,-377.655),(1064.766,-377.973),(1064.7,-378.503),(1064.706,-391.653),(1064.792,-392.106),(1065.002,-392.453),(1065.328,-392.681),(1065.755,-392.787),(1213.92,-392.8),(1214.321,-392.832),(1214.575,-392.975),(1214.7,-393.53),(1214.698,-406.553),(1214.574,-407.027),(1214.18,-407.191),(1066.063,-407.2),(1065.46,-407.27),(1065.03,-407.518),(1064.776,-407.94),(1064.701,-408.48),(1064.705,-421.642),(1064.79,-422.099),(1064.997,-422.448),(1065.322,-422.678),(1065.749,-422.787),(1213.914,-422.8),(1214.521,-422.921),(1214.648,-423.112),(1214.7,-423.52),(1214.699,-436.544),(1214.575,-437.025),(1214.18,-437.191),(1066.074,-437.2),(1065.532,-437.25),(1065.186,-437.394),(1064.84,-437.783),(1064.701,-438.452),(1064.704,-451.618),(1064.785,-452.086),(1064.992,-452.442),(1065.315,-452.675),(1065.749,-452.787),(1214.411,-452.86),(1214.628,-453.061),(1214.699,-453.5),(1214.699,-466.505),(1214.602,-466.987),(1214.287,-467.175),(1141.069,-467.2),(1140.257,-467.353),(1139.843,-467.776),(1139.701,-468.457),(1139.7,-492.5),(1140.3,-492.5)],
  [(1290.436,-297.49),(1296.756,-294.873),(1299.962,-288.372),(1300,-182.932),(1280,-182.932),(1280.038,-288.372),(1283.244,-294.873)],
  [(1300,-65.846),(1298.848,-54.518),(1294.63,-46.032),(1287.232,-40.22),(1277.558,-37.704),(1007.042,-37.504),(994.844,-39.344),(989.063,-42.458),(984.76,-46.832),(981.794,-52.481),(980.25,-59.469),(980,-182.932),(1000,-182.932),(1000.071,-62.427),(1001.161,-58.392),(1007.931,-57.5),(1130,-57.5),(1139.7,-62.5),(1139.291,-77.175),(1065.361,-77.305),(1064.702,-91.589),(1065.693,-92.78),(1214.629,-93.064),(1214.189,-107.19),(1065.186,-107.394),(1064.702,-121.565),(1065.762,-122.788),(1214.699,-123.461),(1214.184,-137.19),(1065.375,-137.3),(1064.702,-151.56),(1065.755,-152.787),(1213.935,-152.8),(1214.7,-153.575),(1214.18,-167.191),(1065.597,-167.236),(1064.702,-168.411),(1064.702,-181.56),(1066.111,-182.8),(1215.221,-182.932),(1213.959,-182.2),(1065.535,-182.115),(1065.811,-167.81),(1213.888,-167.8),(1215.3,-166.404),(1215.291,-153.298),(1214.238,-152.212),(1065.686,-152.17),(1065.576,-137.865),(1214.245,-137.787),(1215.293,-136.678),(1215.3,-123.574),(1213.964,-122.2),(1065.82,-122.191),(1065.3,-108.622),(1066.035,-107.8),(1214.202,-107.791),(1215.292,-106.683),(1215.3,-93.622),(1213.888,-92.2),(1065.811,-92.19),(1065.518,-77.894),(1139.481,-77.746),(1140.296,-76.612),(1140.3,-62.5),(1150,-57.5),(1272.398,-57.501),(1278.488,-58.21),(1279.604,-59.981),(1279.995,-64.544),(1280,-182.932),(1300,-182.932)])

lib.write_gds('toplevel.gds')
